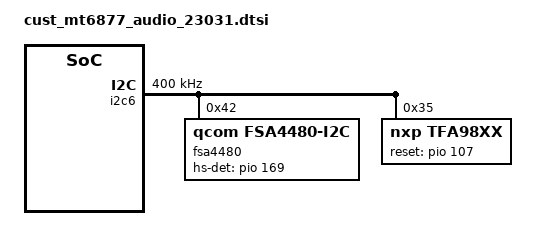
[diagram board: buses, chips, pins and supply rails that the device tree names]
// SPDX-License-Identifier: GPL-2.0
/* Copyright (c) 2020 MediaTek Inc. */

&i2c6 {
	clock-frequency = <400000>;

	fsa4480: fsa4480@42 {
		compatible = "qcom,fsa4480-i2c";
		reg = <0x42>;
		pinctrl-names = "default";
		pinctrl-0 = <&fsa_hs_det>;
		fsa4480,hs-det-gpio = <&pio 169 0>;
	};

	tfa98xx: tfa98xx@35 {
		compatible = "nxp,tfa98xx";
		reg = <0x35>;
		reset-gpio = <&pio 107 0>;
		tfa_min_range = <5000>;
		tfa_max_range = <8000>;
		status = "okay";
	};
};

&audio_extend {
 	//for nxp speaker
 	oplus,speaker-vendor = "nxp";
 	oplus,speaker-i2s-id = <0>;
 	oplus,speaker-i2s-id-in = <3>;
 	oplus,speaker-codec-name = "tfa98xx.6-0035";
 	oplus,speaker-codec-dai-name = "tfa98xx-aif-6-35";
};

&pio {
	fsa_hs_det: fsa_hs_det {
		pins_cmd_dat {
			pinmux = <PINMUX_GPIO169__FUNC_GPIO169>;
			slew-rate = <1>;  /*direction 0:in, 1:out*/
			output-high;
		};
	};
};

